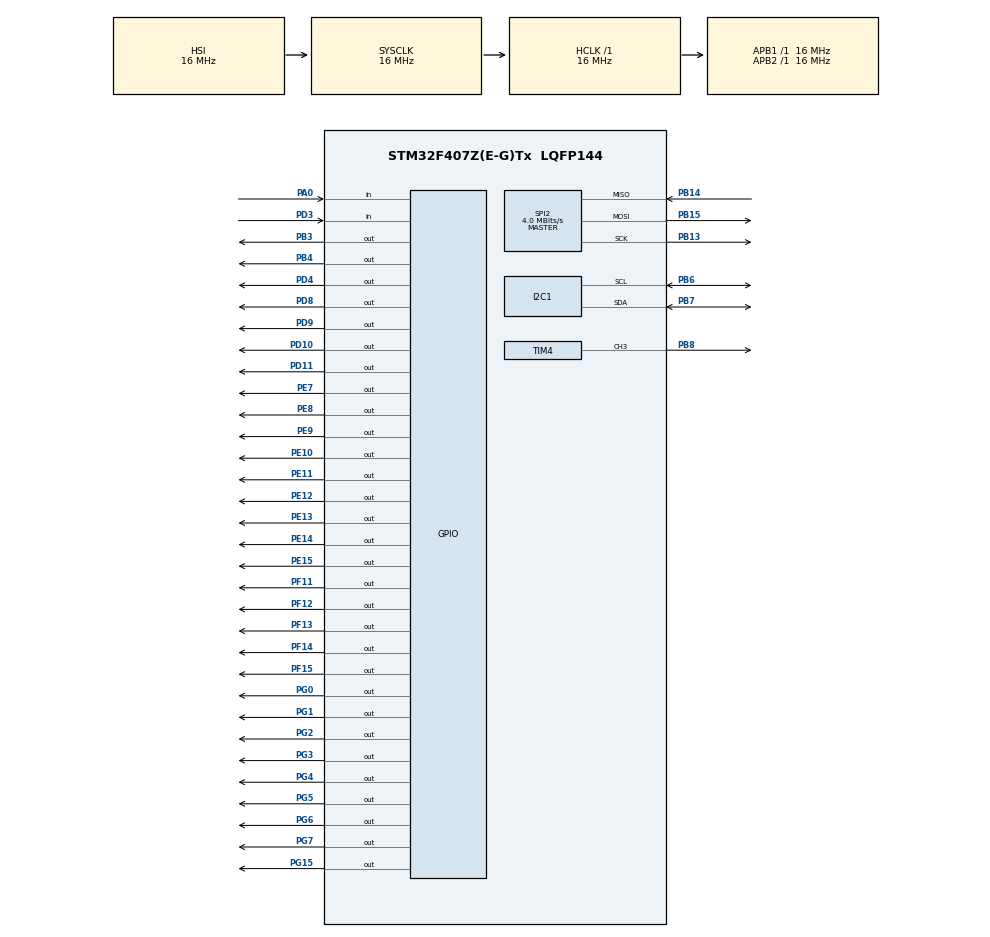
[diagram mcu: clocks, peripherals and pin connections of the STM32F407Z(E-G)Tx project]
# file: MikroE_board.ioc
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Mcu.Family=STM32F4
Mcu.Name=STM32F407Z(E-G)Tx
Mcu.Package=LQFP144
NVIC.PriorityGroup=NVIC_PRIORITYGROUP_4
PA0-WKUP.Signal=GPIO_Input
PB13.Mode=Full_Duplex_Master
PB13.Signal=SPI2_SCK
PB14.Mode=Full_Duplex_Master
PB14.Signal=SPI2_MISO
PB15.Mode=Full_Duplex_Master
PB15.Signal=SPI2_MOSI
PB3.Signal=GPIO_Output
PB4.Signal=GPIO_Output
PB6.Mode=I2C
PB6.Signal=I2C1_SCL
PB7.Mode=I2C
PB7.Signal=I2C1_SDA
PB8.Signal=S_TIM4_CH3
PC14-OSC32_IN.Mode=LSE-External-Oscillator
PC14-OSC32_IN.Signal=RCC_OSC32_IN
PC15-OSC32_OUT.Mode=LSE-External-Oscillator
PC15-OSC32_OUT.Signal=RCC_OSC32_OUT
PD10.Signal=GPIO_Output
PD11.Signal=GPIO_Output
PD3.Signal=GPIO_Input
PD4.Signal=GPIO_Output
PD8.Signal=GPIO_Output
PD9.Signal=GPIO_Output
PE10.Signal=GPIO_Output
PE11.Signal=GPIO_Output
PE12.Signal=GPIO_Output
PE13.Signal=GPIO_Output
PE14.Signal=GPIO_Output
PE15.Signal=GPIO_Output
PE7.Signal=GPIO_Output
PE8.Signal=GPIO_Output
PE9.Signal=GPIO_Output
PF11.Signal=GPIO_Output
PF12.Signal=GPIO_Output
PF13.Signal=GPIO_Output
PF14.Signal=GPIO_Output
PF15.Signal=GPIO_Output
PG0.Signal=GPIO_Output
PG1.Signal=GPIO_Output
PG15.Signal=GPIO_Output
PG2.Signal=GPIO_Output
PG3.Signal=GPIO_Output
PG4.Signal=GPIO_Output
PG5.Signal=GPIO_Output
PG6.Signal=GPIO_Output
PG7.Signal=GPIO_Output
PH0-OSC_IN.Mode=HSE-External-Oscillator
PH0-OSC_IN.Signal=RCC_OSC_IN
PH1-OSC_OUT.Mode=HSE-External-Oscillator
PH1-OSC_OUT.Signal=RCC_OSC_OUT
ProjectManager.HeapSize=0x200
ProjectManager.StackSize=0x400
ProjectManager.TargetToolchain=STM32CubeIDE
RCC.AHBFreq_Value=16000000
RCC.APB1Freq_Value=16000000
RCC.APB2Freq_Value=16000000
RCC.CortexFreq_Value=16000000
RCC.HSE_VALUE=25000000
RCC.HSI_VALUE=16000000
RCC.SYSCLKFreq_VALUE=16000000
RCC.VCOOutputFreq_Value=192000000
RTC.Format=RTC_FORMAT_BIN
SH.S_TIM4_CH3.0=TIM4_CH3,PWM Generation3 CH3
SPI2.BaudRatePrescaler=SPI_BAUDRATEPRESCALER_4
SPI2.CalculateBaudRate=4.0 MBits/s
SPI2.Direction=SPI_DIRECTION_2LINES
SPI2.Mode=SPI_MODE_MASTER
SPI2.VirtualType=VM_MASTER
TIM3.Prescaler=27
TIM4.Channel-PWM\ Generation3\ CH3=TIM_CHANNEL_3
TIM4.Prescaler=108
VP_RTC_VS_RTC_Activate.Mode=RTC_Enabled
VP_RTC_VS_RTC_Calendar.Mode=RTC_Calendar
VP_TIM3_VS_ClockSourceINT.Mode=Internal
VP_TIM4_VS_ClockSourceINT.Mode=Internal
board=custom

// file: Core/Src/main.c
/* USER CODE BEGIN Header */
/**
  ******************************************************************************
  * @file           : main.c
  * @brief          : Main program body
  ******************************************************************************
  * @attention
  * SOUFIANE MAAROUF file
  * Copyright (c) 2025 STMicroelectronics.
  * All rights reserved.
  *
  * This software is licensed under terms that can be found in the LICENSE file
  * in the root directory of this software component.
  * If no LICENSE file comes with this software, it is provided AS-IS.
  *
  ******************************************************************************
  */
/* USER CODE END Header */
#include "main.h"

/* USER CODE BEGIN Includes */
#include "STMPE610.h"
#include "SSD1963.h"
#include "VS1053.h"
//#include "ADXL345.h"
#include "stm32f4xx_hal.h"
/* USER CODE END Includes */

/* USER CODE BEGIN PTD */
#define RED 	0xF800
#define GREEN 	0x07E0
#define BLUE 	0x001F

// main menu items
#define MENU 	0x00
#define LED 	0x10
#define TEMP 	0x20
#define LIGHT 	0x30
#define ACCEL 	0x40
#define TIME 	0x50
#define TOUCH 	0x60
#define SLIDE 	0x70
#define BUZZER 	0x80
#define MP3 	0x90
#define USB 	0xA0
#define FILES 	0xB0
#define INFO 	0xC0
#define SETTIME 0xD0
#define SETDATE 0xE0
/* USER CODE END PTD */

I2C_HandleTypeDef hi2c1;

RTC_HandleTypeDef hrtc;

SPI_HandleTypeDef hspi2;

TIM_HandleTypeDef htim3;
TIM_HandleTypeDef htim4;

void SystemClock_Config(void);
static void MX_GPIO_Init(void);
static void MX_I2C1_Init(void);
static void MX_RTC_Init(void);
static void MX_SPI2_Init(void);
static void MX_TIM3_Init(void);
static void MX_TIM4_Init(void);

int main(void)
{

  /* MCU Configuration--------------------------------------------------------*/

  /* Reset of all peripherals, Initializes the Flash interface and the Systick. */
  HAL_Init();

  /* Configure the system clock */
  SystemClock_Config();

  /* Initialize all configured peripherals */
  MX_GPIO_Init();
  MX_I2C1_Init();
  MX_RTC_Init();
  MX_SPI2_Init();
  MX_TIM3_Init();
  MX_TIM4_Init();
  /* USER CODE BEGIN 2 */
  Init_LCD_GPIO();

    // -------------------------------------------------------------------------
    // 3. Initialize SSD1963 LCD
    // -------------------------------------------------------------------------
    SSD1963_Init();
    HAL_Delay(100);

    // -------------------------------------------------------------------------
    // 4. Set backlight to 100%
    // -------------------------------------------------------------------------
    SSD1963_SetBacklight(0xC0); // 0x00 = off, 0xFF = full brightness

    // -------------------------------------------------------------------------
    // 5. Clear the screen to black
    // -------------------------------------------------------------------------
    SSD1963_ClearScreen(0x0000); // RGB565 black
    Init_TOUCH_GPIO(hi2c1);
    STMPE610_Init();

       // Draw sample static UI
       SSD1963_FillArea(0, 479, 0, 40, BLUE);
       SSD1963_FillArea(0, 479, 272 - 40, 272, BLUE);
       SSD1963_FillArea(0, 20, 0, 272, BLUE);
       SSD1963_FillArea(479 - 20, 479, 0, 272, BLUE);

       while (1)
           {
               if (STMPE610_IsTouched())
               {
                   if (STMPE610_read_xyz())
                   {
                       uint16_t tx = STMPE610_GetX_TOUCH();
                       uint16_t ty = STMPE610_GetY_TOUCH();

                       // Clamp for safety
                       if (tx < 480 && ty < 272)
                       {
                           SSD1963_DrawCircle(tx, ty, 5, RED);

                       }
                   }
               }
               HAL_Delay(50);
           }
}
  /* USER CODE END 2 */

  /* Infinite loop */
  /* USER CODE BEGIN WHILE */

void SystemClock_Config(void)
{
  RCC_OscInitTypeDef RCC_OscInitStruct = {0};
  RCC_ClkInitTypeDef RCC_ClkInitStruct = {0};

  /** Configure the main internal regulator output voltage
  */
  __HAL_RCC_PWR_CLK_ENABLE();
  __HAL_PWR_VOLTAGESCALING_CONFIG(PWR_REGULATOR_VOLTAGE_SCALE1);

  /** Initializes the RCC Oscillators according to the specified parameters
  * in the RCC_OscInitTypeDef structure.
  */
  RCC_OscInitStruct.OscillatorType = RCC_OSCILLATORTYPE_HSI|RCC_OSCILLATORTYPE_LSI;
  RCC_OscInitStruct.HSIState = RCC_HSI_ON;
  RCC_OscInitStruct.HSICalibrationValue = RCC_HSICALIBRATION_DEFAULT;
  RCC_OscInitStruct.LSIState = RCC_LSI_ON;
  RCC_OscInitStruct.PLL.PLLState = RCC_PLL_NONE;
  if (HAL_RCC_OscConfig(&RCC_OscInitStruct) != HAL_OK)
  {
    Error_Handler();
  }

  /** Initializes the CPU, AHB and APB buses clocks
  */
  RCC_ClkInitStruct.ClockType = RCC_CLOCKTYPE_HCLK|RCC_CLOCKTYPE_SYSCLK
                              |RCC_CLOCKTYPE_PCLK1|RCC_CLOCKTYPE_PCLK2;
  RCC_ClkInitStruct.SYSCLKSource = RCC_SYSCLKSOURCE_HSI;
  RCC_ClkInitStruct.AHBCLKDivider = RCC_SYSCLK_DIV1;
  RCC_ClkInitStruct.APB1CLKDivider = RCC_HCLK_DIV1;
  RCC_ClkInitStruct.APB2CLKDivider = RCC_HCLK_DIV1;

  if (HAL_RCC_ClockConfig(&RCC_ClkInitStruct, FLASH_LATENCY_0) != HAL_OK)
  {
    Error_Handler();
  }
}

static void MX_I2C1_Init(void)
{

  hi2c1.Instance = I2C1;
  hi2c1.Init.ClockSpeed = 100000;
  hi2c1.Init.DutyCycle = I2C_DUTYCYCLE_2;
  hi2c1.Init.OwnAddress1 = 0;
  hi2c1.Init.AddressingMode = I2C_ADDRESSINGMODE_7BIT;
  hi2c1.Init.DualAddressMode = I2C_DUALADDRESS_DISABLE;
  hi2c1.Init.OwnAddress2 = 0;
  hi2c1.Init.GeneralCallMode = I2C_GENERALCALL_DISABLE;
  hi2c1.Init.NoStretchMode = I2C_NOSTRETCH_DISABLE;
  if (HAL_I2C_Init(&hi2c1) != HAL_OK)
  {
    Error_Handler();
  }

}

static void MX_RTC_Init(void)
{

  RTC_TimeTypeDef sTime = {0};
  RTC_DateTypeDef sDate = {0};

  /** Initialize RTC Only
  */
  hrtc.Instance = RTC;
  hrtc.Init.HourFormat = RTC_HOURFORMAT_24;
  hrtc.Init.AsynchPrediv = 127;
  hrtc.Init.SynchPrediv = 255;
  hrtc.Init.OutPut = RTC_OUTPUT_DISABLE;
  hrtc.Init.OutPutPolarity = RTC_OUTPUT_POLARITY_HIGH;
  hrtc.Init.OutPutType = RTC_OUTPUT_TYPE_OPENDRAIN;
  if (HAL_RTC_Init(&hrtc) != HAL_OK)
  {
    Error_Handler();
  }

  /** Initialize RTC and set the Time and Date
  */
  sTime.Hours = 0;
  sTime.Minutes = 0;
  sTime.Seconds = 0;
  sTime.DayLightSaving = RTC_DAYLIGHTSAVING_NONE;
  sTime.StoreOperation = RTC_STOREOPERATION_RESET;
  if (HAL_RTC_SetTime(&hrtc, &sTime, RTC_FORMAT_BIN) != HAL_OK)
  {
    Error_Handler();
  }
  sDate.WeekDay = RTC_WEEKDAY_MONDAY;
  sDate.Month = RTC_MONTH_JANUARY;
  sDate.Date = 1;
  sDate.Year = 0;

  if (HAL_RTC_SetDate(&hrtc, &sDate, RTC_FORMAT_BIN) != HAL_OK)
  {
    Error_Handler();
  }

}

static void MX_SPI2_Init(void)
{

  /* SPI2 parameter configuration*/
  hspi2.Instance = SPI2;
  hspi2.Init.Mode = SPI_MODE_MASTER;
  hspi2.Init.Direction = SPI_DIRECTION_2LINES;
  hspi2.Init.DataSize = SPI_DATASIZE_8BIT;
  hspi2.Init.CLKPolarity = SPI_POLARITY_LOW;
  hspi2.Init.CLKPhase = SPI_PHASE_1EDGE;
  hspi2.Init.NSS = SPI_NSS_SOFT;
  hspi2.Init.BaudRatePrescaler = SPI_BAUDRATEPRESCALER_4;
  hspi2.Init.FirstBit = SPI_FIRSTBIT_MSB;
  hspi2.Init.TIMode = SPI_TIMODE_DISABLE;
  hspi2.Init.CRCCalculation = SPI_CRCCALCULATION_DISABLE;
  hspi2.Init.CRCPolynomial = 10;
  if (HAL_SPI_Init(&hspi2) != HAL_OK)
  {
    Error_Handler();
  }

}

static void MX_TIM3_Init(void)
{

  TIM_ClockConfigTypeDef sClockSourceConfig = {0};
  TIM_MasterConfigTypeDef sMasterConfig = {0};

  htim3.Instance = TIM3;
  htim3.Init.Prescaler = 27;
  htim3.Init.CounterMode = TIM_COUNTERMODE_UP;
  htim3.Init.Period = 65535;
  htim3.Init.ClockDivision = TIM_CLOCKDIVISION_DIV1;
  htim3.Init.AutoReloadPreload = TIM_AUTORELOAD_PRELOAD_DISABLE;
  if (HAL_TIM_Base_Init(&htim3) != HAL_OK)
  {
    Error_Handler();
  }
  sClockSourceConfig.ClockSource = TIM_CLOCKSOURCE_INTERNAL;
  if (HAL_TIM_ConfigClockSource(&htim3, &sClockSourceConfig) != HAL_OK)
  {
    Error_Handler();
  }
  sMasterConfig.MasterOutputTrigger = TIM_TRGO_RESET;
  sMasterConfig.MasterSlaveMode = TIM_MASTERSLAVEMODE_DISABLE;
  if (HAL_TIMEx_MasterConfigSynchronization(&htim3, &sMasterConfig) != HAL_OK)
  {
    Error_Handler();
  }

}

static void MX_TIM4_Init(void)
{

  TIM_ClockConfigTypeDef sClockSourceConfig = {0};
  TIM_MasterConfigTypeDef sMasterConfig = {0};
  TIM_OC_InitTypeDef sConfigOC = {0};

  htim4.Instance = TIM4;
  htim4.Init.Prescaler = 108;
  htim4.Init.CounterMode = TIM_COUNTERMODE_UP;
  htim4.Init.Period = 65535;
  htim4.Init.ClockDivision = TIM_CLOCKDIVISION_DIV1;
  htim4.Init.AutoReloadPreload = TIM_AUTORELOAD_PRELOAD_DISABLE;
  if (HAL_TIM_Base_Init(&htim4) != HAL_OK)
  {
    Error_Handler();
  }
  sClockSourceConfig.ClockSource = TIM_CLOCKSOURCE_INTERNAL;
  if (HAL_TIM_ConfigClockSource(&htim4, &sClockSourceConfig) != HAL_OK)
  {
    Error_Handler();
  }
  if (HAL_TIM_PWM_Init(&htim4) != HAL_OK)
  {
    Error_Handler();
  }
  sMasterConfig.MasterOutputTrigger = TIM_TRGO_RESET;
  sMasterConfig.MasterSlaveMode = TIM_MASTERSLAVEMODE_DISABLE;
  if (HAL_TIMEx_MasterConfigSynchronization(&htim4, &sMasterConfig) != HAL_OK)
  {
    Error_Handler();
  }
  sConfigOC.OCMode = TIM_OCMODE_PWM1;
  sConfigOC.Pulse = 0;
  sConfigOC.OCPolarity = TIM_OCPOLARITY_HIGH;
  sConfigOC.OCFastMode = TIM_OCFAST_DISABLE;
  if (HAL_TIM_PWM_ConfigChannel(&htim4, &sConfigOC, TIM_CHANNEL_3) != HAL_OK)
  {
    Error_Handler();
  }
  HAL_TIM_MspPostInit(&htim4);

}

static void MX_GPIO_Init(void)
{
  GPIO_InitTypeDef GPIO_InitStruct = {0};

  /* GPIO Ports Clock Enable */
  __HAL_RCC_GPIOC_CLK_ENABLE();
  __HAL_RCC_GPIOH_CLK_ENABLE();
  __HAL_RCC_GPIOA_CLK_ENABLE();
  __HAL_RCC_GPIOF_CLK_ENABLE();
  __HAL_RCC_GPIOG_CLK_ENABLE();
  __HAL_RCC_GPIOE_CLK_ENABLE();
  __HAL_RCC_GPIOB_CLK_ENABLE();
  __HAL_RCC_GPIOD_CLK_ENABLE();

  /*Configure GPIO pin Output Level */
  HAL_GPIO_WritePin(GPIOF, GPIO_PIN_11|GPIO_PIN_12|GPIO_PIN_13|GPIO_PIN_14
                          |GPIO_PIN_15, GPIO_PIN_RESET);

  /*Configure GPIO pin Output Level */
  HAL_GPIO_WritePin(GPIOG, GPIO_PIN_0|GPIO_PIN_1|GPIO_PIN_2|GPIO_PIN_3
                          |GPIO_PIN_4|GPIO_PIN_5|GPIO_PIN_6|GPIO_PIN_7
                          |GPIO_PIN_15, GPIO_PIN_RESET);

  /*Configure GPIO pin Output Level */
  HAL_GPIO_WritePin(GPIOE, GPIO_PIN_7|GPIO_PIN_8|GPIO_PIN_9|GPIO_PIN_10
                          |GPIO_PIN_11|GPIO_PIN_12|GPIO_PIN_13|GPIO_PIN_14
                          |GPIO_PIN_15, GPIO_PIN_RESET);

  /*Configure GPIO pin Output Level */
  HAL_GPIO_WritePin(GPIOD, GPIO_PIN_8|GPIO_PIN_9|GPIO_PIN_10|GPIO_PIN_11
                          |GPIO_PIN_4, GPIO_PIN_RESET);

  /*Configure GPIO pin Output Level */
  HAL_GPIO_WritePin(GPIOB, GPIO_PIN_3|GPIO_PIN_4, GPIO_PIN_RESET);

  /*Configure GPIO pin : PA0 */
  GPIO_InitStruct.Pin = GPIO_PIN_0;
  GPIO_InitStruct.Mode = GPIO_MODE_INPUT;
  GPIO_InitStruct.Pull = GPIO_NOPULL;
  HAL_GPIO_Init(GPIOA, &GPIO_InitStruct);

  /*Configure GPIO pins : PF11 PF12 PF13 PF14
                           PF15 */
  GPIO_InitStruct.Pin = GPIO_PIN_11|GPIO_PIN_12|GPIO_PIN_13|GPIO_PIN_14
                          |GPIO_PIN_15;
  GPIO_InitStruct.Mode = GPIO_MODE_OUTPUT_PP;
  GPIO_InitStruct.Pull = GPIO_NOPULL;
  GPIO_InitStruct.Speed = GPIO_SPEED_FREQ_LOW;
  HAL_GPIO_Init(GPIOF, &GPIO_InitStruct);

  /*Configure GPIO pins : PG0 PG1 PG2 PG3
                           PG4 PG5 PG6 PG7
                           PG15 */
  GPIO_InitStruct.Pin = GPIO_PIN_0|GPIO_PIN_1|GPIO_PIN_2|GPIO_PIN_3
                          |GPIO_PIN_4|GPIO_PIN_5|GPIO_PIN_6|GPIO_PIN_7
                          |GPIO_PIN_15;
  GPIO_InitStruct.Mode = GPIO_MODE_OUTPUT_PP;
  GPIO_InitStruct.Pull = GPIO_NOPULL;
  GPIO_InitStruct.Speed = GPIO_SPEED_FREQ_LOW;
  HAL_GPIO_Init(GPIOG, &GPIO_InitStruct);

  /*Configure GPIO pins : PE7 PE8 PE9 PE10
                           PE11 PE12 PE13 PE14
                           PE15 */
  GPIO_InitStruct.Pin = GPIO_PIN_7|GPIO_PIN_8|GPIO_PIN_9|GPIO_PIN_10
                          |GPIO_PIN_11|GPIO_PIN_12|GPIO_PIN_13|GPIO_PIN_14
                          |GPIO_PIN_15;
  GPIO_InitStruct.Mode = GPIO_MODE_OUTPUT_PP;
  GPIO_InitStruct.Pull = GPIO_NOPULL;
  GPIO_InitStruct.Speed = GPIO_SPEED_FREQ_LOW;
  HAL_GPIO_Init(GPIOE, &GPIO_InitStruct);

  /*Configure GPIO pins : PD8 PD9 PD10 PD11
                           PD4 */
  GPIO_InitStruct.Pin = GPIO_PIN_8|GPIO_PIN_9|GPIO_PIN_10|GPIO_PIN_11
                          |GPIO_PIN_4;
  GPIO_InitStruct.Mode = GPIO_MODE_OUTPUT_PP;
  GPIO_InitStruct.Pull = GPIO_NOPULL;
  GPIO_InitStruct.Speed = GPIO_SPEED_FREQ_LOW;
  HAL_GPIO_Init(GPIOD, &GPIO_InitStruct);

  /*Configure GPIO pin : PD3 */
  GPIO_InitStruct.Pin = GPIO_PIN_3;
  GPIO_InitStruct.Mode = GPIO_MODE_INPUT;
  GPIO_InitStruct.Pull = GPIO_NOPULL;
  HAL_GPIO_Init(GPIOD, &GPIO_InitStruct);

  /*Configure GPIO pins : PB3 PB4 */
  GPIO_InitStruct.Pin = GPIO_PIN_3|GPIO_PIN_4;
  GPIO_InitStruct.Mode = GPIO_MODE_OUTPUT_PP;
  GPIO_InitStruct.Pull = GPIO_NOPULL;
  GPIO_InitStruct.Speed = GPIO_SPEED_FREQ_LOW;
  HAL_GPIO_Init(GPIOB, &GPIO_InitStruct);

}

void Error_Handler(void)
{
  __disable_irq();
  while (1)
  {
  }
}
